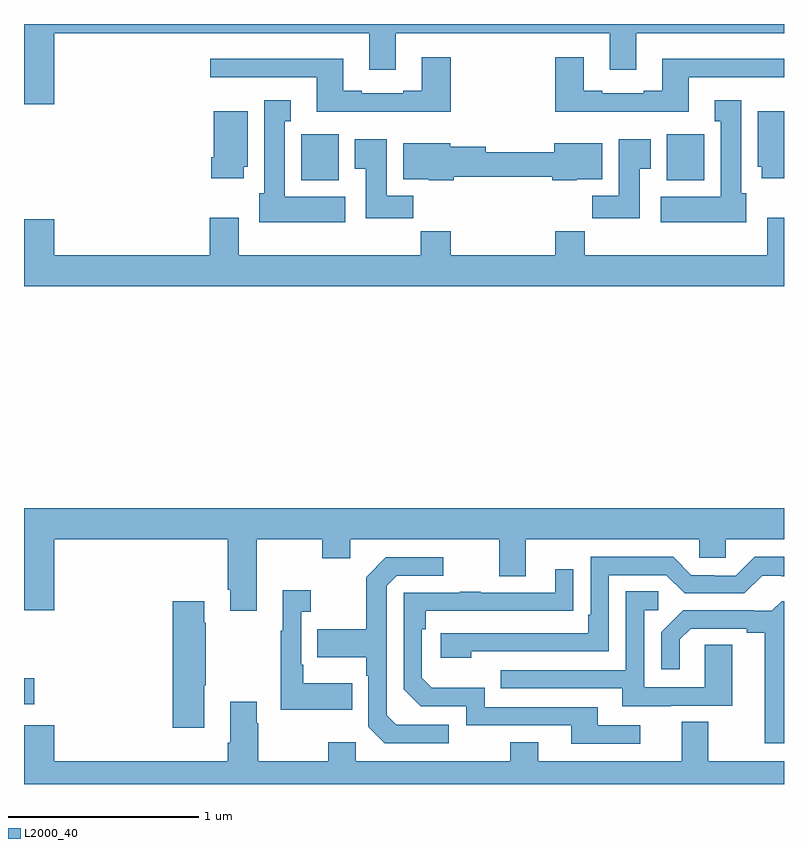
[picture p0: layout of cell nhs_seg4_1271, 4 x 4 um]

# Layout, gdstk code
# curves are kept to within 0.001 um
import gdstk
lib = gdstk.Library(unit=1e-6, precision=1e-09)
def R(c, l, rs):  # rectangles x0, y0, x1, y1
    for r in rs: c.add(gdstk.rectangle(r[:2], r[2:], *l))
def P(c, l, *ps):  # polygons
    for p in ps: c.add(gdstk.Polygon(p, *l))
L2000_40 = (2000, 40)

nhs_seg4_1271 = lib.new_cell('nhs_seg4_1271')
R(nhs_seg4_1271, L2000_40, [(177,761.321,177.055,761.456), (178.46,764.078,178.657,764.32), (180.383,764.078,180.58,764.32)])
P(nhs_seg4_1271, L2000_40, [(177.16,764.852),(178.817,764.852),(178.817,764.658),(178.957,764.658),(178.957,764.852),(180.083,764.852),(180.083,764.658),(180.223,764.658),(180.223,764.852),(181,764.852),(181,764.9),(177,764.9),(177,764.478),(177.16,764.478)],
  [(179.246,764.725),(179.093,764.725),(179.093,764.548),(178.997,764.548),(178.997,764.535),(178.777,764.535),(178.777,764.548),(178.681,764.548),(178.681,764.716),(177.981,764.716),(177.981,764.619),(178.541,764.619),(178.541,764.438),(179.246,764.438)],
  [(180.499,764.619),(181,764.619),(181,764.716),(180.359,764.716),(180.359,764.548),(180.263,764.548),(180.263,764.535),(180.043,764.535),(180.043,764.548),(179.947,764.548),(179.947,764.725),(179.795,764.725),(179.795,764.438),(180.499,764.438)],
  [(178.69,763.99),(178.372,763.99),(178.372,764.387),(178.405,764.387),(178.405,764.5),(178.265,764.5),(178.265,764.01),(178.238,764.01),(178.238,763.856),(178.69,763.856)],
  [(180.802,764.01),(180.775,764.01),(180.775,764.5),(180.635,764.5),(180.635,764.387),(180.668,764.387),(180.668,763.99),(180.351,763.99),(180.351,763.856),(180.802,763.856)],
  [(181,764.44),(180.863,764.44),(180.863,764.148),(180.884,764.148),(180.884,764.088),(181,764.088)],
  [(178.156,764.148),(178.177,764.148),(178.177,764.44),(177.998,764.44),(177.998,764.2),(177.986,764.2),(177.986,764.088),(178.156,764.088)],
  [(180.241,764.137),(180.298,764.137),(180.298,764.293),(180.131,764.293),(180.131,763.996),(179.992,763.996),(179.992,763.878),(180.241,763.878)],
  [(179.048,763.996),(178.909,763.996),(178.909,764.293),(178.742,764.293),(178.742,764.137),(178.799,764.137),(178.799,763.878),(179.048,763.878)],
  [(179.261,764.097),(179.78,764.097),(179.78,764.078),(179.91,764.078),(179.91,764.084),(180.043,764.084),(180.043,764.272),(179.792,764.272),(179.792,764.225),(179.431,764.225),(179.431,764.254),(179.244,764.254),(179.244,764.272),(178.997,764.272),(178.997,764.084),(179.13,764.084),(179.13,764.078),(179.261,764.078)],
  [(181,763.879),(180.911,763.879),(180.911,763.684),(179.951,763.684),(179.951,763.808),(179.795,763.808),(179.795,763.684),(179.246,763.684),(179.246,763.808),(179.089,763.808),(179.089,763.684),(178.129,763.684),(178.129,763.879),(177.977,763.879),(177.977,763.684),(177.16,763.684),(177.16,763.873),(177,763.873),(177,763.52),(181,763.52)],
  [(178.225,762.188),(178.57,762.188),(178.57,762.089),(178.717,762.089),(178.717,762.188),(179.501,762.188),(179.501,761.994),(179.641,761.994),(179.641,762.188),(180.555,762.188),(180.555,762.09),(180.693,762.09),(180.693,762.188),(181,762.188),(181,762.352),(177,762.352),(177,761.814),(177.16,761.814),(177.16,762.188),(178.073,762.188),(178.073,761.923),(178.085,761.923),(178.085,761.811),(178.225,761.811)],
  [(179.354,761.598),(180.078,761.598),(180.078,762),(180.381,762),(180.477,761.904),(180.792,761.904),(180.885,761.997),(180.985,761.997),(180.985,761.993),(181,761.993),(181,762.097),(180.847,762.097),(180.747,761.997),(180.632,761.997),(180.632,762),(180.513,762),(180.417,762.096),(179.982,762.096),(179.982,761.791),(179.969,761.791),(179.969,761.694),(179.193,761.694),(179.193,761.564),(179.354,761.564)],
  [(179.236,761.211),(178.959,761.211),(178.908,761.262),(178.908,761.943),(178.962,761.997),(179.206,761.997),(179.206,762.093),(178.905,762.093),(178.8,761.987),(178.8,761.715),(178.543,761.715),(178.543,761.567),(178.8,761.567),(178.8,761.471),(178.812,761.471),(178.812,761.202),(178.899,761.115),(179.236,761.115)],
  [(180.244,761.208),(180.019,761.208),(180.019,761.304),(179.424,761.304),(179.424,761.407),(179.147,761.407),(179.094,761.46),(179.094,761.714),(179.114,761.714),(179.114,761.811),(179.891,761.812),(179.891,762.031),(179.795,762.031),(179.795,761.907),(179.405,761.907),(179.405,761.912),(179.293,761.912),(179.293,761.907),(178.998,761.907),(178.998,761.4),(179.088,761.31),(179.328,761.31),(179.328,761.208),(179.879,761.208),(179.879,761.112),(180.244,761.112)],
  [(178.727,761.431),(178.471,761.431),(178.471,761.527),(178.458,761.527),(178.458,761.807),(178.51,761.807),(178.51,761.92),(178.361,761.92),(178.361,761.707),(178.35,761.707),(178.35,761.291),(178.727,761.291)],
  [(180.403,761.313),(180.727,761.313),(180.727,761.633),(180.582,761.633),(180.582,761.409),(180.264,761.409),(180.264,761.814),(180.337,761.814),(180.337,761.915),(180.168,761.915),(180.168,761.499),(179.509,761.499),(179.509,761.403),(180.149,761.403),(180.149,761.309),(180.403,761.309)],
  [(181,761.863),(180.988,761.863),(180.936,761.811),(180.842,761.811),(180.842,761.814),(180.47,761.814),(180.354,761.698),(180.354,761.505),(180.451,761.505),(180.451,761.661),(180.508,761.718),(180.803,761.718),(180.803,761.696),(180.899,761.696),(180.899,761.115),(181,761.115)],
  [(177.949,761.419),(177.957,761.419),(177.957,761.75),(177.949,761.75),(177.949,761.863),(177.782,761.863),(177.782,761.196),(177.949,761.196)],
  [(181,761.02),(180.601,761.02),(180.601,761.228),(180.461,761.228),(180.461,761.02),(179.707,761.02),(179.707,761.119),(179.56,761.119),(179.56,761.02),(178.746,761.02),(178.746,761.119),(178.6,761.119),(178.6,761.02),(178.233,761.02),(178.233,761.219),(178.225,761.219),(178.225,761.332),(178.085,761.332),(178.085,761.116),(178.073,761.116),(178.073,761.02),(177.16,761.02),(177.16,761.209),(177,761.209),(177,760.9),(181,760.9)])

lib.write_gds('nhs_seg4_1271.gds')
